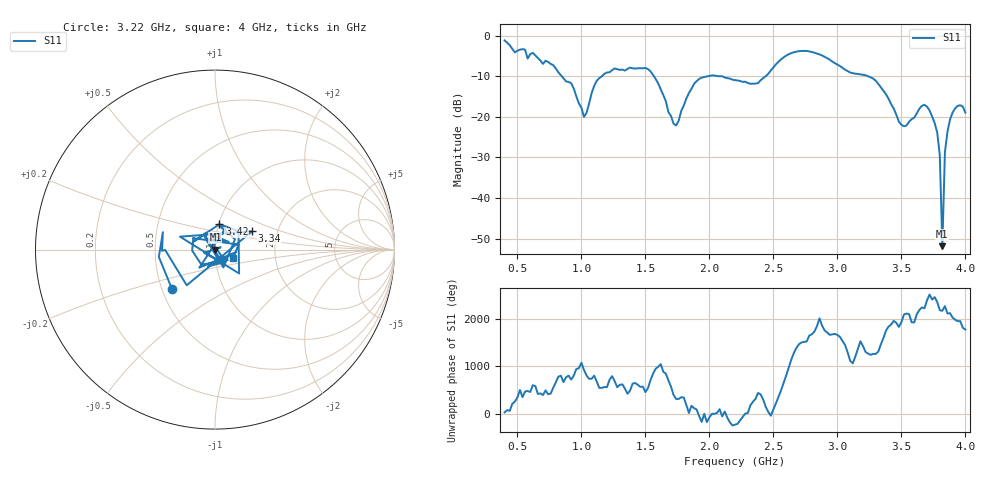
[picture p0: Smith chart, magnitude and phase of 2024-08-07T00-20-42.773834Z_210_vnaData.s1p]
!Created with skrf (http://scikit-rf.org).
# Hz S RI R 50.0
!freq ReS11 ImS11
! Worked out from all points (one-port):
!   181 points, 400 MHz to 4 GHz, reference 50 ohm
!   lowest |S11| = -51.8 dB at 3.82 GHz (marker M1), VSWR 1.01, Z = 50.3 + j0.0498 ohm
!   |S11| at or under -10 dB: 1.566 GHz to 1.99 GHz (424 MHz wide, 23.8 % of centre); 2.076 GHz to 2.44 GHz (363.5 MHz wide, 16.1 % of centre); 3.238 GHz to end of sweep (the widest 3 of 4)
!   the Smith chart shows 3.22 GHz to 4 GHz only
!   S11 on the Smith chart (normalised r, x): 3.22 GHz: 0.56, -0.28; 3.34 GHz: 1.48, +0.32; 3.42 GHz: 1.01, +0.29; 4 GHz: 1.22, -0.12
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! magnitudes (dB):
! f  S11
! 400 MHz  -1.2
! 860 MHz  -10.5
! 920 MHz  -11.7
! 1.02 GHz  -20.0
! 1.12 GHz  -11.1
! 1.3 GHz  -8.5
! 1.52 GHz  -8.2
! 1.6 GHz  -11.8
! 1.72 GHz  -21.7
! 1.76 GHz  -21.0
! 1.92 GHz  -10.7
! 2.2 GHz  -11.0
! 2.38 GHz  -11.7
! 2.66 GHz  -4.1
! 3.1 GHz  -9.1
! 3.22 GHz  -9.8
! 3.34 GHz  -12.8
! 3.42 GHz  -16.9
! 3.5 GHz  -22.0
! 3.56 GHz  -21.2
! 3.68 GHz  -17.1
! 3.78 GHz  -23.9
! 3.8 GHz  -29.5
! 3.82 GHz  -51.8
! 3.84 GHz  -28.7
! 3.86 GHz  -23.7
! 3.92 GHz  -17.9
! 4 GHz  -19.0
